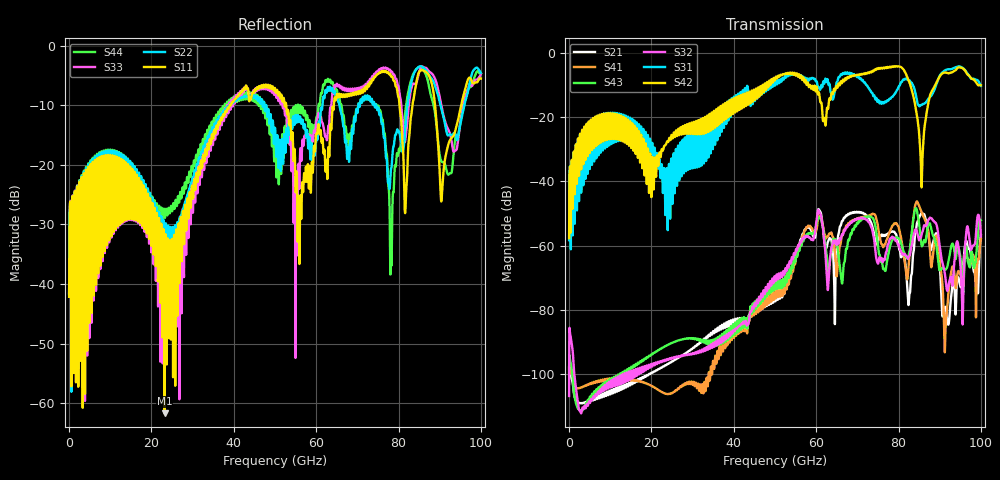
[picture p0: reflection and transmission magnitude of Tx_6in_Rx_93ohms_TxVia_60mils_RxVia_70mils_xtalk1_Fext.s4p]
! Info: Touchstone file created by Circ.  Input file=Tx_6in_Rx_93ohms_TxVia_60mils_RxVia_70mils.circ
# Hz S RI R 50
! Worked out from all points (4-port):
!   10000 points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, 10 MHz to 100 GHz, reference 50 ohm
!   strongest paths, dB at 10 MHz, 25.01 GHz, 50.01 GHz, 75.01 GHz, 100 GHz:
!     S42: -57.7, -25.8, -8.4, -5.0, -10.0
!     S31: -58.3, -38.0, -10.0, -14.8, -10.2
!     S32: -106.9, -95.0, -70.2, -65.7, -57.1
!     S43: -97.5, -90.3, -72.2, -59.9, -52.2
!     S41: -98.1, -106.0, -74.5, -54.1, -57.9
!     S21: -98.3, -96.1, -76.9, -58.5, -56.8
!   lowest |S11| = -61.7 dB at 23.19 GHz (marker M1), VSWR 1.00, Z = 49.9 - j0.0053 ohm
!   |S11| at or under -10 dB: start of sweep to 38.99 GHz; 52.73 GHz to 64.3 GHz (11.57 GHz wide, 19.8 % of centre); 88.87 GHz to 95.21 GHz (6.336 GHz wide, 6.88 % of centre)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
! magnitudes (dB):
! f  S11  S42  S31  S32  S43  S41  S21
! 10 MHz  -42.2  -57.7  -58.3  -106.9  -97.5  -98.1  -98.3
! 8.73 GHz  -27.8  -27.3  -29.7  -103.9  -102.6  -101.6  -105.8
! 23.19 GHz  -61.7  -28.9  -37.7  -95.7  -91.5  -106.1  -97.5
! 53.79 GHz  -13.0  -6.3  -6.7  -65.6  -68.6  -70.3  -69.3
! 85.58 GHz  -4.1  -41.7  -16.2  -56.7  -60.0  -49.3  -49.8
! 91.39 GHz  -18.7  -6.1  -5.3  -70.2  -67.6  -86.9  -79.3
! 100 GHz  -5.5  -10.0  -10.2  -57.1  -52.2  -57.9  -56.8
